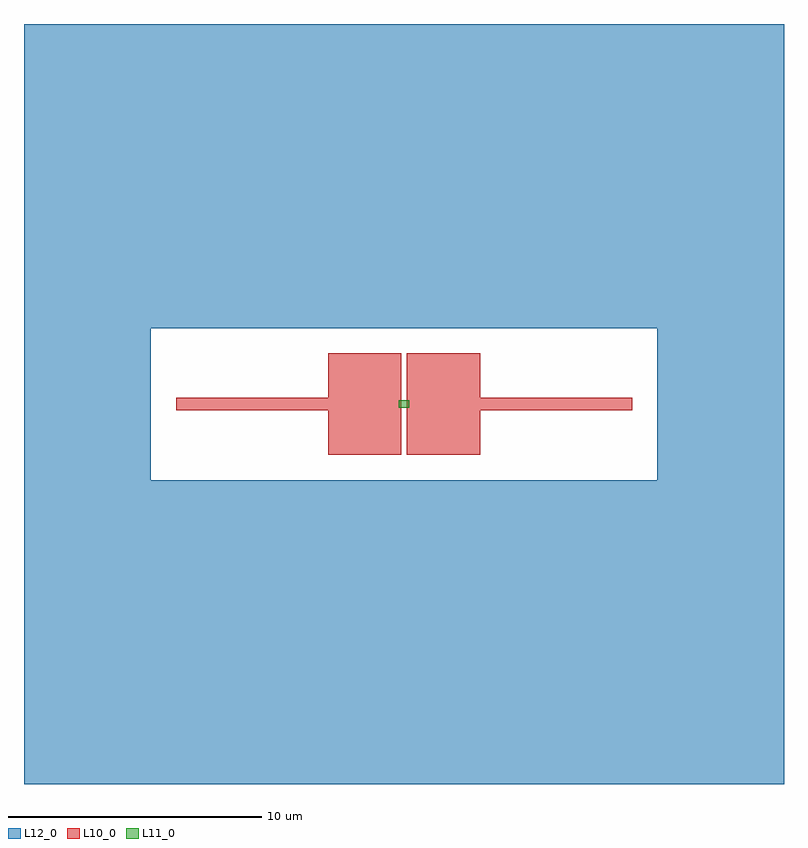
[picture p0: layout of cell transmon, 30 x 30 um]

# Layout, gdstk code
import gdstk
lib = gdstk.Library(unit=1e-6, precision=1e-09)
def R(c, l, rs):  # rectangles x0, y0, x1, y1
    for r in rs: c.add(gdstk.rectangle(r[:2], r[2:], *l))
L10_0 = (10, 0)
L11_0 = (11, 0)
L12_0 = (12, 0)

transmon = lib.new_cell('transmon')
R(transmon, L10_0, [(-3,-2,-0.1,2), (0.1,-2,3,2)])
R(transmon, L11_0, [(-0.2,-0.15,0.2,0.15)])
R(transmon, L12_0, [(-15,-15,15,-3), (-15,-3,-10,3), (10,-3,15,3), (-15,3,15,15)])
transmon.add(gdstk.FlexPath([(-3,0),(-9,0)], 0.5, ends="flush", simple_path=True, layer=10, datatype=0))  # L10_0
transmon.add(gdstk.FlexPath([(3,0),(9,0)], 0.5, ends="flush", simple_path=True, layer=10, datatype=0))  # L10_0

lib.write_gds('transmon.gds')
